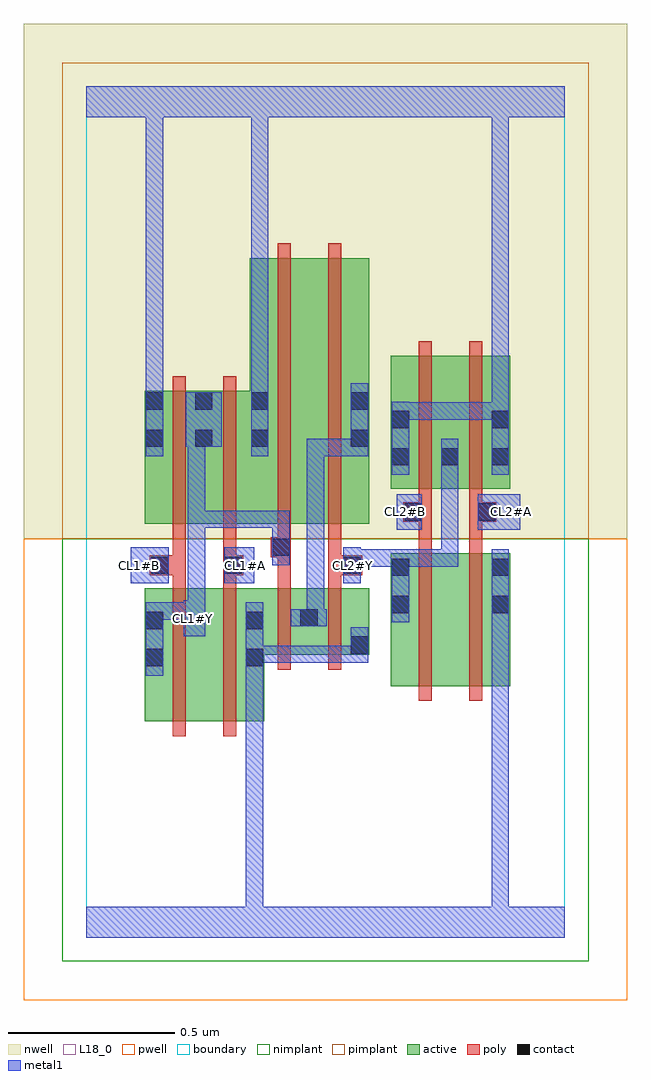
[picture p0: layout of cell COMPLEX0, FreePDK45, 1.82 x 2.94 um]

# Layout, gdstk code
import gdstk
lib = gdstk.Library(unit=1e-6, precision=1e-09)
def R(c, l, rs):  # rectangles x0, y0, x1, y1
    for r in rs: c.add(gdstk.rectangle(r[:2], r[2:], *l))
def A(c, l, x, y, w, h, nx, ny, dx, dy):  # array of equal rectangles
    R(c, l, [(x+i*dx, y+j*dy, x+i*dx+w, y+j*dy+h) for i in range(nx) for j in range(ny)])
active = (1, 0)
pwell = (2, 0)
nwell = (3, 0)
nimplant = (4, 0)
pimplant = (5, 0)
poly = (9, 0)
contact = (10, 0)
metal1 = (11, 0)
L18_0 = (18, 0)
boundary = (235, 0)

complex0 = lib.new_cell('COMPLEX0')
R(complex0, active, [(0.176,0.65,0.236,1.05), (0.176,0.65,0.356,1.05), (0.356,0.65,0.536,1.05), (0.476,0.65,0.536,1.05), (0.916,0.756,0.976,1.156), (0.916,0.756,1.096,1.156), (1.096,0.756,1.276,1.156), (1.216,0.756,1.276,1.156), (0.476,0.85,0.7,1.05), (0.64,0.85,0.7,1.05), (0.64,0.85,0.852,1.05), (0.792,0.85,0.852,1.05), (0.176,1.244,0.236,1.644), (0.176,1.244,0.384,1.644), (0.324,1.244,0.384,1.644), (0.324,1.244,0.552,1.644), (0.492,1.244,0.672,2.044), (0.492,1.244,0.552,1.83), (0.672,1.244,0.852,2.044), (0.792,1.244,0.852,2.044), (0.916,1.35,0.976,1.75), (0.916,1.35,1.124,1.75), (1.064,1.35,1.276,1.75), (1.216,1.35,1.276,1.75), (1.064,1.416,1.124,1.644)])
R(complex0, pwell, [(-0.188,-0.188,1.628,1.2)])
R(complex0, nwell, [(-0.188,1.2,1.628,2.748)])
R(complex0, nimplant, [(-0.072,-0.072,1.512,1.2)])
R(complex0, pimplant, [(-0.072,1.2,1.512,2.632)])
R(complex0, poly, [(0.26,0.606,0.3,1.094), (0.412,0.606,0.452,1.094), (1,0.712,1.04,1.2), (1.152,0.712,1.192,1.2), (0.576,0.806,0.616,1.094), (0.728,0.806,0.768,1.094), (0.26,1.054,0.3,1.13), (0.412,1.054,0.452,1.13), (0.576,1.054,0.616,1.184), (0.728,1.054,0.768,1.13), (0.192,1.09,0.3,1.15), (0.26,1.09,0.3,1.13), (0.26,1.09,0.3,1.13), (0.412,1.09,0.472,1.15), (0.728,1.09,0.83,1.15), (0.26,1.11,0.3,1.24), (0.412,1.11,0.452,1.15), (0.412,1.11,0.452,1.15), (0.412,1.11,0.452,1.24), (0.728,1.11,0.768,1.15), (0.728,1.11,0.768,1.15), (0.728,1.11,0.768,1.24), (0.556,1.144,0.616,1.204), (0.576,1.144,0.616,1.184), (0.576,1.144,0.616,1.184), (1,1.16,1.04,1.29), (1.152,1.16,1.192,1.29), (0.576,1.164,0.616,1.24), (0.26,1.2,0.3,1.688), (0.412,1.2,0.452,1.688), (0.576,1.2,0.616,2.088), (0.728,1.2,0.768,2.088), (0.954,1.25,1.04,1.31), (1,1.25,1.04,1.29), (1,1.25,1.04,1.29), (1.152,1.25,1.234,1.31), (1,1.27,1.04,1.346), (1.152,1.27,1.192,1.346), (1.152,1.27,1.192,1.31), (1.152,1.27,1.192,1.31), (1,1.306,1.04,1.794), (1.152,1.306,1.192,1.794)])
R(complex0, contact, [(0.18,0.816,0.232,0.868), (0.48,0.816,0.532,0.868), (0.796,0.854,0.848,0.906), (0.18,0.928,0.232,0.98), (0.48,0.928,0.532,0.98), (0.644,0.936,0.696,0.988), (0.92,0.976,0.972,1.028), (1.22,0.976,1.272,1.028), (0.92,1.088,0.972,1.14), (1.22,1.088,1.272,1.14), (0.196,1.094,0.248,1.146), (0.416,1.094,0.468,1.146), (0.774,1.094,0.826,1.146), (0.56,1.148,0.612,1.2), (0.958,1.254,1.01,1.306), (1.178,1.254,1.23,1.306), (0.92,1.42,0.972,1.472), (1.068,1.42,1.12,1.472), (1.22,1.42,1.272,1.472), (0.18,1.476,0.232,1.528), (0.328,1.476,0.38,1.528), (0.496,1.476,0.548,1.528), (0.796,1.476,0.848,1.528), (0.92,1.532,0.972,1.584), (1.22,1.532,1.272,1.584), (0.18,1.588,0.232,1.64), (0.328,1.588,0.38,1.64), (0.496,1.588,0.548,1.64), (0.796,1.588,0.848,1.64)])
R(complex0, metal1, [(0,0,1.44,0.092), (0.48,0.04,0.532,0.092), (0.48,0.04,0.532,0.092), (0.48,0.04,0.532,0.092), (0.48,0.04,0.532,0.092), (0.48,0.04,0.532,0.092), (0.48,0.04,0.532,0.092), (0.48,0.04,0.532,0.84), (1.22,0.04,1.272,0.092), (1.22,0.04,1.272,0.092), (1.22,0.04,1.272,0.092), (1.22,0.04,1.272,0.092), (1.22,0.04,1.272,0.092), (1.22,0.04,1.272,0.092), (1.22,0.04,1.272,0.092), (1.22,0.04,1.272,0.092), (1.22,0.04,1.272,0.092), (1.22,0.04,1.272,0.092), (1.22,0.04,1.272,0.092), (1.22,0.04,1.272,0.092), (1.22,0.04,1.272,1), (0.18,0.788,0.232,1.008), (0.48,0.788,0.532,0.84), (0.48,0.788,0.532,0.84), (0.48,0.788,0.532,0.84), (0.48,0.788,0.532,0.84), (0.48,0.788,0.532,0.84), (0.48,0.788,0.532,0.84), (0.48,0.788,0.532,1.008), (0.48,0.826,0.532,0.878), (0.48,0.826,0.532,0.878), (0.48,0.826,0.716,0.878), (0.664,0.826,0.716,0.878), (0.664,0.826,0.716,0.878), (0.664,0.826,0.716,0.878), (0.664,0.826,0.716,0.878), (0.664,0.826,0.716,0.878), (0.664,0.826,0.848,0.878), (0.796,0.826,0.848,0.878), (0.796,0.826,0.848,0.878), (0.796,0.826,0.848,0.934), (0.294,0.906,0.358,1.014), (0.616,0.936,0.724,0.988), (0.664,0.936,0.716,0.988), (0.664,0.936,0.716,0.988), (0.664,0.936,0.716,0.988), (0.664,0.936,0.716,0.988), (0.664,0.936,0.716,1.5), (0.92,0.948,0.972,1.168), (1.22,0.948,1.272,1.168), (0.18,0.956,0.232,1.008), (0.18,0.956,0.232,1.008), (0.18,0.956,0.232,1.008), (0.18,0.956,0.232,1.008), (0.18,0.956,0.346,1.008), (0.306,0.962,0.358,1.284), (0.134,1.066,0.248,1.174), (0.416,1.066,0.506,1.174), (0.774,1.066,0.826,1.174), (0.774,1.116,0.826,1.168), (0.774,1.116,0.826,1.168), (0.774,1.116,0.972,1.168), (0.92,1.116,0.972,1.168), (0.92,1.116,0.972,1.168), (0.92,1.116,0.972,1.168), (0.92,1.116,0.972,1.168), (0.92,1.116,1.12,1.168), (1.068,1.116,1.12,1.168), (1.068,1.116,1.12,1.168), (1.068,1.116,1.12,1.168), (1.068,1.116,1.12,1.444), (0.56,1.12,0.612,1.284), (0.934,1.226,1.01,1.334), (1.178,1.226,1.306,1.334), (0.306,1.232,0.358,1.284), (0.306,1.232,0.358,1.284), (0.306,1.232,0.358,1.284), (0.306,1.232,0.468,1.284), (0.306,1.232,0.358,1.528), (0.416,1.232,0.468,1.284), (0.416,1.232,0.612,1.284), (0.92,1.392,0.972,1.612), (1.068,1.392,1.12,1.5), (1.22,1.392,1.272,1.612), (0.18,1.448,0.232,1.668), (0.496,1.448,0.548,1.668), (0.664,1.448,0.716,1.5), (0.664,1.448,0.848,1.5), (0.796,1.448,0.848,1.5), (0.796,1.448,0.848,1.5), (0.796,1.448,0.848,1.668), (0.3,1.476,0.408,1.64), (0.92,1.558,1.082,1.61), (1.03,1.558,1.082,1.61), (1.03,1.558,1.082,1.61), (1.03,1.558,1.082,1.61), (1.03,1.558,1.272,1.61), (1.22,1.558,1.272,1.61), (1.22,1.558,1.272,1.61), (1.22,1.56,1.272,1.612), (1.22,1.56,1.272,1.612), (1.22,1.56,1.272,2.52), (0.18,1.616,0.232,1.668), (0.18,1.616,0.232,1.668), (0.18,1.616,0.232,1.668), (0.18,1.616,0.232,1.668), (0.18,1.616,0.232,2.52), (0.496,1.616,0.548,1.668), (0.496,1.616,0.548,1.668), (0.496,1.616,0.548,1.668), (0.496,1.616,0.548,1.668), (0.496,1.616,0.548,1.668), (0.496,1.616,0.548,1.668), (0.496,1.616,0.548,2.52), (0,2.468,1.44,2.56), (0.18,2.468,0.232,2.52), (0.18,2.468,0.232,2.52), (0.18,2.468,0.232,2.52), (0.18,2.468,0.232,2.52), (0.18,2.468,0.232,2.52), (0.18,2.468,0.232,2.52), (0.18,2.468,0.232,2.52), (0.18,2.468,0.232,2.52), (0.18,2.468,0.232,2.52), (0.18,2.468,0.232,2.52), (0.18,2.468,0.232,2.52), (0.18,2.468,0.232,2.52), (0.496,2.468,0.548,2.52), (0.496,2.468,0.548,2.52), (1.22,2.468,1.272,2.52), (1.22,2.468,1.272,2.52), (1.22,2.468,1.272,2.52), (1.22,2.468,1.272,2.52), (1.22,2.468,1.272,2.52), (1.22,2.468,1.272,2.52), (1.22,2.468,1.272,2.52), (1.22,2.468,1.272,2.52), (1.22,2.468,1.272,2.52), (1.22,2.468,1.272,2.52), (1.22,2.468,1.272,2.52), (1.22,2.468,1.272,2.52), (1.22,2.468,1.272,2.52), (1.22,2.468,1.272,2.52)])
A(complex0, L18_0, 0.134, 1.094, 0.052, 0.052, 3, 1, 0.32, 0)
R(complex0, L18_0, [(0,0,1.44,0.092), (0.48,0.04,0.532,0.092), (0.48,0.04,0.532,0.092), (0.48,0.04,0.532,0.092), (0.48,0.04,0.532,0.092), (0.48,0.04,0.532,0.092), (0.48,0.04,0.532,0.092), (0.48,0.04,0.532,0.84), (1.22,0.04,1.272,0.092), (1.22,0.04,1.272,0.092), (1.22,0.04,1.272,0.092), (1.22,0.04,1.272,0.092), (1.22,0.04,1.272,0.092), (1.22,0.04,1.272,0.092), (1.22,0.04,1.272,0.092), (1.22,0.04,1.272,0.092), (1.22,0.04,1.272,0.092), (1.22,0.04,1.272,0.092), (1.22,0.04,1.272,0.092), (1.22,0.04,1.272,0.092), (1.22,0.04,1.272,1), (0.18,0.788,0.232,1.008), (0.48,0.788,0.532,1.008), (0.48,0.788,0.532,0.84), (0.48,0.788,0.532,0.84), (0.48,0.788,0.532,0.84), (0.48,0.788,0.532,0.84), (0.48,0.788,0.532,0.84), (0.48,0.788,0.532,0.84), (0.48,0.826,0.532,0.878), (0.48,0.826,0.532,0.878), (0.48,0.826,0.716,0.878), (0.664,0.826,0.716,0.878), (0.664,0.826,0.716,0.878), (0.664,0.826,0.716,0.878), (0.664,0.826,0.716,0.878), (0.664,0.826,0.716,0.878), (0.664,0.826,0.848,0.878), (0.796,0.826,0.848,0.878), (0.796,0.826,0.848,0.878), (0.796,0.826,0.848,0.934), (0.294,0.906,0.358,1.014), (0.294,0.934,0.346,0.986), (0.92,0.948,0.972,1.168), (1.22,0.948,1.272,1.168), (0.18,0.956,0.232,1.008), (0.18,0.956,0.232,1.008), (0.18,0.956,0.232,1.008), (0.18,0.956,0.232,1.008), (0.18,0.956,0.346,1.008), (0.306,0.962,0.358,1.284), (0.134,1.066,0.248,1.174), (0.416,1.066,0.506,1.174), (0.774,1.066,0.826,1.174), (0.774,1.116,0.826,1.168), (0.774,1.116,0.826,1.168), (0.774,1.116,0.972,1.168), (0.92,1.116,0.972,1.168), (0.92,1.116,0.972,1.168), (0.92,1.116,0.972,1.168), (0.92,1.116,0.972,1.168), (0.92,1.116,1.12,1.168), (1.068,1.116,1.12,1.168), (1.068,1.116,1.12,1.168), (1.068,1.116,1.12,1.168), (1.068,1.116,1.12,1.444), (0.56,1.12,0.612,1.284), (0.934,1.226,1.01,1.334), (1.178,1.226,1.306,1.334), (0.306,1.232,0.358,1.284), (0.306,1.232,0.358,1.284), (0.306,1.232,0.358,1.284), (0.306,1.232,0.358,1.528), (0.306,1.232,0.468,1.284), (0.416,1.232,0.468,1.284), (0.416,1.232,0.612,1.284), (0.934,1.254,0.986,1.306), (1.254,1.254,1.306,1.306), (0.92,1.392,0.972,1.612), (1.068,1.392,1.12,1.5), (1.22,1.392,1.272,1.612), (0.18,1.448,0.232,1.668), (0.496,1.448,0.548,1.668), (0.3,1.476,0.408,1.64), (0.92,1.558,1.082,1.61), (1.03,1.558,1.082,1.61), (1.03,1.558,1.082,1.61), (1.03,1.558,1.082,1.61), (1.03,1.558,1.272,1.61), (1.22,1.558,1.272,1.61), (1.22,1.558,1.272,1.61), (1.22,1.56,1.272,1.612), (1.22,1.56,1.272,1.612), (1.22,1.56,1.272,2.52), (0.18,1.616,0.232,1.668), (0.18,1.616,0.232,1.668), (0.18,1.616,0.232,1.668), (0.18,1.616,0.232,1.668), (0.18,1.616,0.232,2.52), (0.496,1.616,0.548,1.668), (0.496,1.616,0.548,1.668), (0.496,1.616,0.548,1.668), (0.496,1.616,0.548,1.668), (0.496,1.616,0.548,1.668), (0.496,1.616,0.548,1.668), (0.496,1.616,0.548,2.52), (0,2.468,1.44,2.56), (0.18,2.468,0.232,2.52), (0.18,2.468,0.232,2.52), (0.18,2.468,0.232,2.52), (0.18,2.468,0.232,2.52), (0.18,2.468,0.232,2.52), (0.18,2.468,0.232,2.52), (0.18,2.468,0.232,2.52), (0.18,2.468,0.232,2.52), (0.18,2.468,0.232,2.52), (0.18,2.468,0.232,2.52), (0.18,2.468,0.232,2.52), (0.18,2.468,0.232,2.52), (0.496,2.468,0.548,2.52), (0.496,2.468,0.548,2.52), (1.22,2.468,1.272,2.52), (1.22,2.468,1.272,2.52), (1.22,2.468,1.272,2.52), (1.22,2.468,1.272,2.52), (1.22,2.468,1.272,2.52), (1.22,2.468,1.272,2.52), (1.22,2.468,1.272,2.52), (1.22,2.468,1.272,2.52), (1.22,2.468,1.272,2.52), (1.22,2.468,1.272,2.52), (1.22,2.468,1.272,2.52), (1.22,2.468,1.272,2.52), (1.22,2.468,1.272,2.52), (1.22,2.468,1.272,2.52)])
R(complex0, boundary, [(0,0,1.44,2.56)])
complex0.add(gdstk.Label('CL1#A', (0.48,1.12), layer=11, texttype=0))
complex0.add(gdstk.Label('CL1#B', (0.16,1.12), layer=11, texttype=0))
complex0.add(gdstk.Label('CL1#Y', (0.32,0.96), layer=11, texttype=0))
complex0.add(gdstk.Label('CL2#A', (1.28,1.28), layer=11, texttype=0))
complex0.add(gdstk.Label('CL2#B', (0.96,1.28), layer=11, texttype=0))
complex0.add(gdstk.Label('CL2#Y', (0.8,1.12), layer=11, texttype=0))

lib.write_gds('COMPLEX0.gds')
